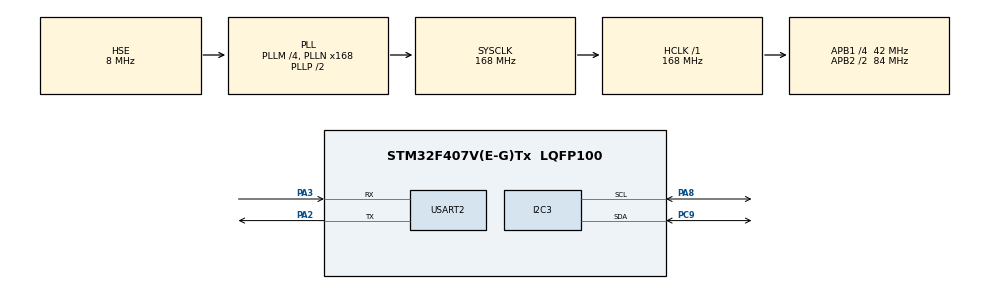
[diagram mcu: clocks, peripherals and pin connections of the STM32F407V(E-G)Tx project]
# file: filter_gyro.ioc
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Mcu.Family=STM32F4
Mcu.Name=STM32F407V(E-G)Tx
Mcu.Package=LQFP100
NVIC.PriorityGroup=NVIC_PRIORITYGROUP_4
NVIC.USART2_IRQn=true\:0\:0\:false\:false\:true\:true\:true\:true
PA13.Mode=Serial_Wire
PA13.Signal=SYS_JTMS-SWDIO
PA14.Mode=Serial_Wire
PA14.Signal=SYS_JTCK-SWCLK
PA2.Mode=Asynchronous
PA2.Signal=USART2_TX
PA3.Mode=Asynchronous
PA3.Signal=USART2_RX
PA8.Mode=I2C
PA8.Signal=I2C3_SCL
PC9.Mode=I2C
PC9.Signal=I2C3_SDA
PH0-OSC_IN.Mode=HSE-External-Oscillator
PH0-OSC_IN.Signal=RCC_OSC_IN
PH1-OSC_OUT.Mode=HSE-External-Oscillator
PH1-OSC_OUT.Signal=RCC_OSC_OUT
ProjectManager.HeapSize=0x200
ProjectManager.StackSize=0x400
ProjectManager.TargetToolchain=STM32CubeIDE
RCC.48MHZClocksFreq_Value=84000000
RCC.AHBFreq_Value=168000000
RCC.APB1CLKDivider=RCC_HCLK_DIV4
RCC.APB1Freq_Value=42000000
RCC.APB1TimFreq_Value=84000000
RCC.APB2CLKDivider=RCC_HCLK_DIV2
RCC.APB2Freq_Value=84000000
RCC.APB2TimFreq_Value=168000000
RCC.CortexFreq_Value=168000000
RCC.HCLKFreq_Value=168000000
RCC.HSE_VALUE=8000000
RCC.HSI_VALUE=16000000
RCC.LSE_VALUE=32768
RCC.PLLM=4
RCC.PLLN=168
RCC.PLLSourceVirtual=RCC_PLLSOURCE_HSE
RCC.SYSCLKFreq_VALUE=168000000
RCC.SYSCLKSource=RCC_SYSCLKSOURCE_PLLCLK
RCC.VCOOutputFreq_Value=336000000
USART2.VirtualMode=VM_ASYNC
board=custom

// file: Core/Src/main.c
/* USER CODE BEGIN Header */
/**
  ******************************************************************************
  * @file           : main.c
  * @brief          : Main program body
  ******************************************************************************
  * @attention
  *
  * Copyright (c) 2025 STMicroelectronics.
  * All rights reserved.
  *
  * This software is licensed under terms that can be found in the LICENSE file
  * in the root directory of this software component.
  * If no LICENSE file comes with this software, it is provided AS-IS.
  *
  ******************************************************************************
  */
/* USER CODE END Header */
#include "main.h"
#include "i2c.h"
#include "usart.h"
#include "gpio.h"

/* USER CODE BEGIN Includes */
#include "cmps12_gyro.h"
/* USER CODE END Includes */

/* USER CODE BEGIN PD */
//ACCESS GYRO
int16_t gyroX_res;
int16_t gyroZ_res;
int16_t gyroY_res;
int16_t accelX_res;
int16_t accelY_res;
int16_t accelZ_res;
int16_t accelX_res2;
int16_t accelY_res2;
int16_t accelZ_res2;
int16_t magnetX_res;
int16_t magnetY_res;
int16_t magnetZ_res;
int16_t bearing_res;
int16_t pitch_res;
int16_t roll_res;
uint8_t callib_state;
uint8_t gyro_cal;
int prev_time;

/* USER CODE END PD */

void SystemClock_Config(void);

int main(void)
{

  /* MCU Configuration--------------------------------------------------------*/

  /* Reset of all peripherals, Initializes the Flash interface and the Systick. */
  HAL_Init();

  /* Configure the system clock */
  SystemClock_Config();

  /* Initialize all configured peripherals */
  MX_GPIO_Init();
  MX_I2C3_Init();
  MX_USART2_UART_Init();
  /* USER CODE BEGIN 2 */
  bearing_res = getBearing();

  /* USER CODE END 2 */

  /* Infinite loop */
  /* USER CODE BEGIN WHILE */
  while (1)
  {
	prev_time = HAL_GetTick();

  updateAccelBuffers();
  accelX_res2 = getAcceleroX_MA();
  accelY_res2 = getAcceleroY_MA();
  accelZ_res2 = getAcceleroZ_MA();

	accelX_res = getAcceleroX();
	accelY_res = getAcceleroY();
	accelZ_res = getAcceleroZ();
	magnetX_res = getMagnetX();
	magnetY_res = getMagnetY();
	magnetZ_res = getMagnetZ();
	pitch_res = getPitch();
	roll_res = getRoll();
	callib_state = getCalibrationState();
	gyroX_res = getGyroX();
	gyroZ_res = getGyroY();
	gyroY_res = getGyroZ();
	gyro_cal = (callib_state >> 4) & 0x03;
//
//	corrected_yaw = getBearing() - bearing_res;
//
//	if(corrected_yaw > 180.0) corrected_yaw -= 360.0;
//	else if(corrected_yaw < -180.0) corrected_yaw += 360;
//
//	corrected_yaw *= -1;

	HAL_Delay(1);
    /* USER CODE END WHILE */

  }
}

void SystemClock_Config(void)
{
  RCC_OscInitTypeDef RCC_OscInitStruct = {0};
  RCC_ClkInitTypeDef RCC_ClkInitStruct = {0};

  /** Configure the main internal regulator output voltage
  */
  __HAL_RCC_PWR_CLK_ENABLE();
  __HAL_PWR_VOLTAGESCALING_CONFIG(PWR_REGULATOR_VOLTAGE_SCALE1);

  /** Initializes the RCC Oscillators according to the specified parameters
  * in the RCC_OscInitTypeDef structure.
  */
  RCC_OscInitStruct.OscillatorType = RCC_OSCILLATORTYPE_HSE;
  RCC_OscInitStruct.HSEState = RCC_HSE_ON;
  RCC_OscInitStruct.PLL.PLLState = RCC_PLL_ON;
  RCC_OscInitStruct.PLL.PLLSource = RCC_PLLSOURCE_HSE;
  RCC_OscInitStruct.PLL.PLLM = 4;
  RCC_OscInitStruct.PLL.PLLN = 168;
  RCC_OscInitStruct.PLL.PLLP = RCC_PLLP_DIV2;
  RCC_OscInitStruct.PLL.PLLQ = 4;
  if (HAL_RCC_OscConfig(&RCC_OscInitStruct) != HAL_OK)
  {
    Error_Handler();
  }

  /** Initializes the CPU, AHB and APB buses clocks
  */
  RCC_ClkInitStruct.ClockType = RCC_CLOCKTYPE_HCLK|RCC_CLOCKTYPE_SYSCLK
                              |RCC_CLOCKTYPE_PCLK1|RCC_CLOCKTYPE_PCLK2;
  RCC_ClkInitStruct.SYSCLKSource = RCC_SYSCLKSOURCE_PLLCLK;
  RCC_ClkInitStruct.AHBCLKDivider = RCC_SYSCLK_DIV1;
  RCC_ClkInitStruct.APB1CLKDivider = RCC_HCLK_DIV4;
  RCC_ClkInitStruct.APB2CLKDivider = RCC_HCLK_DIV2;

  if (HAL_RCC_ClockConfig(&RCC_ClkInitStruct, FLASH_LATENCY_5) != HAL_OK)
  {
    Error_Handler();
  }
}

void Error_Handler(void)
{
  __disable_irq();
  while (1)
  {
  }
}
